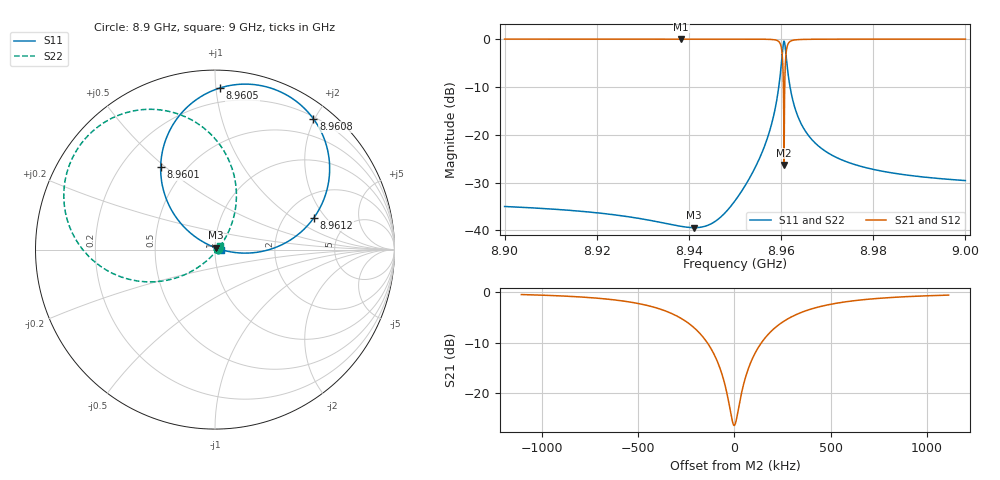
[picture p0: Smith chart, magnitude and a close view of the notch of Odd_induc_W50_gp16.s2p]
! Sonnet Data File
! From: emgraph Version : 16.52
! From Emgraph Data: Resonator2_cp
! Data File Written: 10/09/2017 14:45:42
!< HDATE 10/09/2017 13:27:58
!< MDATE 10/09/2017 13:27:58
!< PARAMS
!< Length = 400.0
!< Pwid1 = 2000.0
!< Width = 50.0
!< gap = 16.0
!< END PARAMS
# GHZ S MA R 47.40000
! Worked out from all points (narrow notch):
!   1595 points, 8.9 GHz to 9 GHz, reference 47.4 ohm
!   highest |S21| = 0.00 dB at 8.9383 GHz (marker M1); lowest = -26.3 dB at 8.9606 GHz (marker M2)
!   notch at M2: 26.3 dB deep, 188 kHz wide at half that depth
!   lowest |S11| = -39.4 dB at 8.9411 GHz (marker M3), VSWR 1.02, Z = 47.8 + j0.954 ohm
!   |S11| at or under -10 dB: start of sweep to 8.9595 GHz; 8.961945 GHz to end of sweep
!   |S22| runs from -39.5 to -0.4 dB; largest |S21 - S12| = 0
!   S11 on the Smith chart (normalised r, x): 8.9 GHz: 1.03, +0.01; 8.9601 GHz: 0.37, +0.48; 8.9605 GHz: 0.11, +1.02; 8.9608 GHz: 0.23, +1.98; 8.9612 GHz: 2.85, +1.53; 9 GHz: 1.07, -0.00
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8.9  0.01778 17.9  0.9998 -73.6  0.9998 -73.6  0.01777 14.8
!< P1 F=8.9 Eeff=(5.03074334 -2.1789e-5) Z0=(47.3979938 1.04427e-4) R=0.0 C=0.0
!< P2 F=8.9 Eeff=(5.03074334 -2.1789e-5) Z0=(47.3979938 1.04427e-4) R=0.0 C=0.0
8.9167  0.01582 23.1  0.9999 -73.9  0.9999 -73.9  0.01581 9.1
8.9334  0.01225 40.9  0.9999 -74.4  0.9999 -74.4  0.01222 -9.6
8.9383  0.01102 55.7  0.9999 -74.6  0.9999 -74.6  0.01098 -24.9
8.9411  0.01068 69.3  0.9999 -74.8  0.9999 -74.8  0.01063 -38.8
8.95  0.02039 127.0  0.9997 -75.9  0.9997 -75.9  0.02031 -99.2
8.956789  0.08525 147.3  0.9958 -79.8  0.9958 -79.8  0.08511 -127.7
8.959088  0.2342 142.8  0.9688 -88.5  0.9688 -88.5  0.2339 -141.4
8.960056  0.5498 123.4  0.8158 -108.3  0.8158 -108.3  0.5491 -164.1
8.9603  0.7372 108.3  0.6325 -122.3  0.6325 -122.3  0.7364 -180.0
8.960498  0.9007 88.3  0.3258 -138.0  0.3258 -138.0  0.8998 159.4
8.960572  0.939 79.1  0.1713 -139.3  0.1713 -139.3  0.938 149.9
8.960644  0.9523 69.7  0.04824 -74.4  0.04824 -74.4  0.9512 140.3
8.960709  0.9419 61.2  0.1572 -11.1  0.1572 -11.1  0.9408 131.7
8.960775  0.9118 53.0  0.2941 -10.8  0.2941 -10.8  0.9108 123.3
8.960928  0.7979 36.9  0.5491 -22.3  0.5491 -22.3  0.7971 106.7
8.96122  0.58 17.9  0.7949 -39.6  0.7949 -39.6  0.5794 86.9
8.961708  0.3728 4.1  0.9212 -53.1  0.9212 -53.1  0.3724 71.8
8.9626  0.2237 -4.2  0.9725 -62.1  0.9725 -62.1  0.2235 61.2
8.9667  0.08873 -8.3  0.9958 -70.0  0.9958 -70.0  0.08868 48.7
8.9834  0.04039 -3.0  0.9992 -72.9  0.9992 -72.9  0.04038 37.2
9  0.03318 -0.1  0.9994 -73.5  0.9994 -73.5  0.03318 33.2
